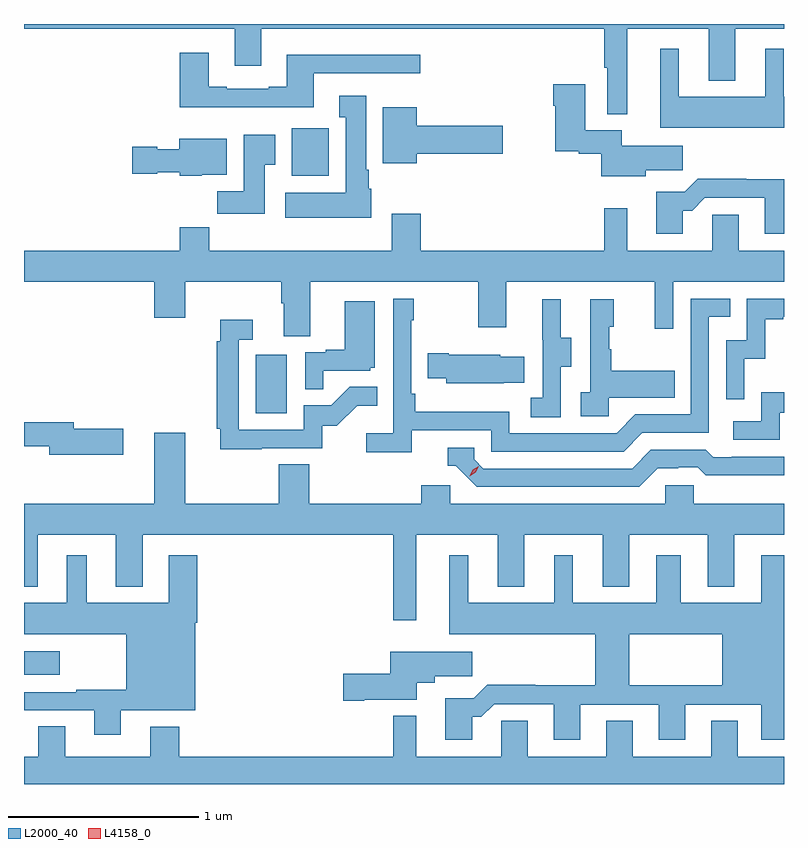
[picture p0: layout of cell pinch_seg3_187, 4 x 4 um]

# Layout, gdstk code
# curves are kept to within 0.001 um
import gdstk
lib = gdstk.Library(unit=1e-6, precision=1e-09)
def R(c, l, rs):  # rectangles x0, y0, x1, y1
    for r in rs: c.add(gdstk.rectangle(r[:2], r[2:], *l))
def P(c, l, *ps):  # polygons
    for p in ps: c.add(gdstk.Polygon(p, *l))
L2000_40 = (2000, 40)
L4158_0 = (4158, 0)

pinch_seg3_187 = lib.new_cell('pinch_seg3_187')
R(pinch_seg3_187, L2000_40, [(979.507,740.141,979.696,740.263), (980.726,741.516,980.89,741.823), (980.915,742.766,981.111,743.017)])
P(pinch_seg3_187, L2000_40, [(982.681,743.54),(983.111,743.54),(983.111,743.267),(983.251,743.267),(983.251,743.54),(983.507,743.54),(983.507,743.565),(979.507,743.565),(979.507,743.54),(980.615,743.54),(980.615,743.346),(980.755,743.346),(980.755,743.54),(982.56,743.54),(982.56,743.335),(982.577,743.335),(982.577,743.091),(982.681,743.091)],
  [(983.507,743.182),(983.506,743.182),(983.506,743.434),(983.408,743.434),(983.408,743.182),(982.954,743.182),(982.954,743.434),(982.856,743.434),(982.856,743.018),(983.507,743.018)],
  [(981.031,743.307),(981.592,743.307),(981.592,743.404),(980.891,743.404),(980.891,743.236),(980.795,743.236),(980.795,743.223),(980.575,743.223),(980.575,743.236),(980.479,743.236),(980.479,743.413),(980.327,743.413),(980.327,743.126),(981.031,743.126)],
  [(982.78,742.795),(982.975,742.795),(982.975,742.924),(982.654,742.924),(982.654,743.005),(982.462,743.005),(982.462,743.248),(982.292,743.248),(982.292,743.135),(982.304,743.135),(982.304,742.895),(982.428,742.895),(982.428,742.883),(982.544,742.883),(982.544,742.763),(982.78,742.763)],
  [(981.334,742.698),(981.322,742.698),(981.322,742.798),(981.307,742.798),(981.307,743.188),(981.167,743.188),(981.167,743.075),(981.2,743.075),(981.2,742.678),(980.883,742.678),(980.883,742.544),(981.334,742.544)],
  [(981.574,742.883),(982.027,742.883),(982.027,743.03),(981.574,743.03),(981.574,743.128),(981.395,743.128),(981.395,742.832),(981.574,742.832)],
  [(980.773,742.825),(980.83,742.825),(980.83,742.981),(980.663,742.981),(980.663,742.684),(980.524,742.684),(980.524,742.566),(980.773,742.566)],
  [(980.442,742.772),(980.575,742.772),(980.575,742.96),(980.324,742.96),(980.324,742.906),(980.208,742.906),(980.208,742.919),(980.076,742.919),(980.076,742.777),(980.208,742.777),(980.208,742.784),(980.328,742.784),(980.328,742.766),(980.442,742.766)],
  [(982.975,742.583),(983.024,742.583),(983.091,742.65),(983.405,742.65),(983.405,742.461),(983.507,742.461),(983.507,742.748),(983.309,742.748),(983.309,742.751),(983.054,742.751),(982.984,742.681),(982.835,742.681),(982.835,742.461),(982.975,742.461)],
  [(981.013,742.208),(981.898,742.208),(981.898,741.969),(982.045,741.969),(982.045,742.208),(982.826,742.208),(982.826,741.96),(982.923,741.96),(982.923,742.208),(983.507,742.208),(983.507,742.372),(983.269,742.372),(983.269,742.562),(983.13,742.562),(983.13,742.372),(982.681,742.372),(982.681,742.594),(982.56,742.594),(982.56,742.372),(981.596,742.372),(981.596,742.567),(981.443,742.567),(981.443,742.372),(980.483,742.372),(980.483,742.496),(980.327,742.496),(980.327,742.372),(979.507,742.372),(979.507,742.208),(980.192,742.208),(980.192,742.02),(980.356,742.02),(980.356,742.208),(980.861,742.208),(980.861,742.096),(980.873,742.096),(980.873,741.922),(981.013,741.922)],
  [(981.548,741.426),(981.966,741.426),(981.966,741.315),(982.663,741.315),(982.762,741.414),(983.112,741.414),(983.112,742.023),(983.225,742.023),(983.225,742.119),(983.016,742.119),(983.016,741.51),(982.725,741.51),(982.626,741.411),(982.062,741.411),(982.062,741.523),(981.566,741.523),(981.566,741.619),(981.546,741.619),(981.546,742.007),(981.559,742.007),(981.559,742.12),(981.45,742.12),(981.45,741.412),(981.309,741.412),(981.309,741.31),(981.548,741.31)],
  [(983.298,741.803),(983.408,741.803),(983.408,742.011),(983.503,742.011),(983.503,742.023),(983.507,742.023),(983.507,742.119),(983.31,742.119),(983.31,741.9),(983.202,741.9),(983.202,741.591),(983.298,741.591)],
  [(982.332,741.76),(982.387,741.76),(982.387,741.915),(982.333,741.915),(982.333,742.117),(982.235,742.117),(982.235,741.903),(982.236,741.903),(982.236,741.599),(982.173,741.599),(982.173,741.496),(982.332,741.496)],
  [(982.584,741.599),(982.931,741.599),(982.931,741.739),(982.597,741.739),(982.597,741.854),(982.587,741.854),(982.587,741.972),(982.612,741.972),(982.612,742.117),(982.488,742.117),(982.488,741.626),(982.437,741.626),(982.437,741.501),(982.584,741.501)],
  [(981.083,741.741),(981.33,741.741),(981.33,741.756),(981.352,741.756),(981.352,742.105),(981.194,742.105),(981.194,741.85),(981.095,741.85),(981.095,741.837),(980.988,741.837),(980.988,741.643),(981.083,741.643)],
  [(980.759,741.333),(981.078,741.333),(981.078,741.45),(981.154,741.45),(981.261,741.557),(981.365,741.557),(981.365,741.656),(981.221,741.656),(981.123,741.558),(980.979,741.558),(980.979,741.429),(980.637,741.429),(980.637,741.903),(980.71,741.903),(980.71,742.009),(980.54,742.009),(980.54,741.896),(980.521,741.896),(980.521,741.436),(980.54,741.436),(980.54,741.328),(980.759,741.328)],
  [(982.031,741.677),(982.139,741.677),(982.139,741.814),(982.014,741.814),(982.014,741.823),(981.742,741.823),(981.742,741.831),(981.631,741.831),(981.631,741.701),(981.729,741.701),(981.729,741.674),(982.031,741.674)],
  [(983.484,741.519),(983.507,741.519),(983.507,741.628),(983.388,741.628),(983.388,741.474),(983.241,741.474),(983.241,741.378),(983.484,741.378)],
  [(980.029,741.434),(979.768,741.434),(979.768,741.47),(979.507,741.47),(979.507,741.342),(979.64,741.342),(979.64,741.299),(980.029,741.299)],
  [(981.571,740.876),(982.001,740.876),(982.001,740.603),(982.141,740.603),(982.141,740.876),(982.553,740.876),(982.553,740.603),(982.693,740.603),(982.693,740.876),(983.105,740.876),(983.105,740.603),(983.245,740.603),(983.245,740.876),(983.507,740.876),(983.507,741.04),(983.031,741.04),(983.031,741.138),(982.881,741.138),(982.881,741.04),(981.75,741.04),(981.75,741.138),(981.599,741.138),(981.599,741.04),(981.008,741.04),(981.008,741.248),(980.848,741.248),(980.848,741.04),(980.356,741.04),(980.356,741.415),(980.192,741.415),(980.192,741.04),(979.507,741.04),(979.507,740.603),(979.579,740.603),(979.579,740.876),(979.991,740.876),(979.991,740.603),(980.131,740.603),(980.131,740.876),(981.45,740.876),(981.45,740.427),(981.571,740.427)],
  [(982.843,741.228),(982.95,741.228),(982.95,741.231),(983.053,741.231),(983.095,741.189),(983.328,741.189),(983.328,741.191),(983.507,741.191),(983.507,741.288),(983.233,741.288),(983.233,741.285),(983.134,741.285),(983.095,741.324),(982.806,741.324),(982.707,741.225),(981.924,741.225),(981.876,741.273),(981.876,741.336),(981.737,741.336),(981.737,741.24),(981.78,741.24),(981.891,741.129),(982.744,741.129)],
  [(982.199,740.087),(981.944,740.087),(981.874,740.017),(981.725,740.017),(981.725,739.797),(981.865,739.797),(981.865,739.919),(981.914,739.919),(981.981,739.986),(982.295,739.986),(982.295,739.797),(982.435,739.797),(982.435,739.983),(982.847,739.983),(982.847,739.797),(982.987,739.797),(982.987,739.983),(983.387,739.983),(983.387,739.797),(983.507,739.797),(983.507,740.77),(983.387,740.77),(983.387,740.518),(982.963,740.518),(982.963,740.77),(982.835,740.77),(982.835,740.518),(982.396,740.518),(982.396,740.77),(982.298,740.77),(982.298,740.518),(981.844,740.518),(981.844,740.77),(981.746,740.77),(981.746,740.354),(982.514,740.354),(982.514,740.084),(982.692,740.084),(982.692,740.354),(983.183,740.354),(983.183,740.084),(982.199,740.084)],
  [(980.017,739.952),(980.407,739.952),(980.407,740.414),(980.42,740.414),(980.42,740.77),(980.27,740.77),(980.27,740.518),(979.837,740.518),(979.837,740.77),(979.733,740.77),(979.733,740.518),(979.507,740.518),(979.507,740.354),(980.045,740.354),(980.045,740.062),(979.783,740.062),(979.783,740.049),(979.507,740.049),(979.507,739.953),(979.877,739.953),(979.877,739.824),(980.017,739.824)],
  [(981.298,740.009),(981.574,740.009),(981.574,740.099),(981.67,740.099),(981.67,740.131),(981.865,740.131),(981.865,740.26),(981.434,740.26),(981.434,740.144),(981.186,740.144),(981.186,740.002),(981.298,740.002)],
  [(983.507,739.708),(983.263,739.708),(983.263,739.898),(983.123,739.898),(983.123,739.708),(982.711,739.708),(982.711,739.898),(982.571,739.898),(982.571,739.708),(982.159,739.708),(982.159,739.898),(982.02,739.898),(982.02,739.708),(981.571,739.708),(981.571,739.924),(981.45,739.924),(981.45,739.708),(980.324,739.708),(980.324,739.867),(980.171,739.867),(980.171,739.708),(979.723,739.708),(979.723,739.868),(979.583,739.868),(979.583,739.708),(979.507,739.708),(979.507,739.565),(983.507,739.565)])
P(pinch_seg3_187, L4158_0, [(981.853,741.186),(981.853,741.187),(981.87,741.219),(981.901,741.238),(981.901,741.238),(981.901,741.238),(981.885,741.206),(981.854,741.186)])

lib.write_gds('pinch_seg3_187.gds')
